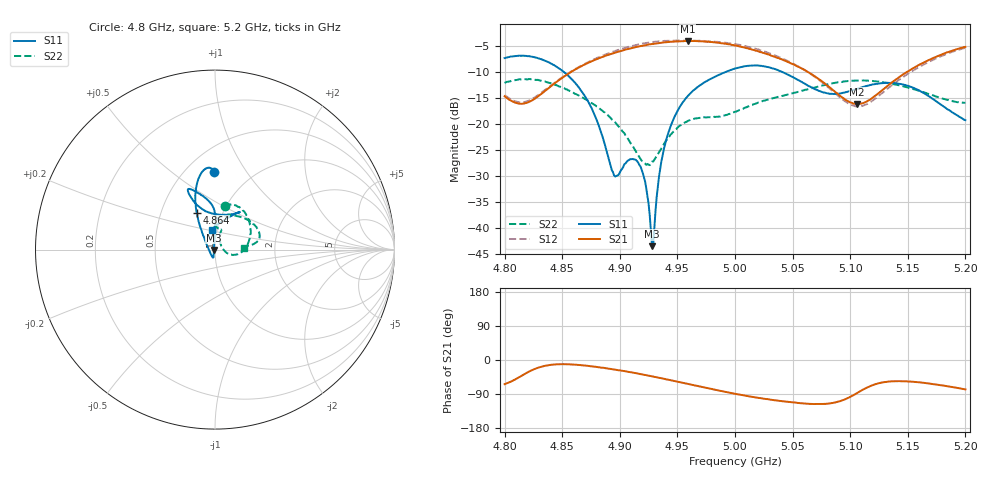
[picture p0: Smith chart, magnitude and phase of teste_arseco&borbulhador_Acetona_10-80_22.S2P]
! Network Analyzer HP8722D
! Hewlett-Packard
! Data name: Linha & Wilkinson
! Saver's name: Rodrigo Anjos
! Comments: Teste da utilização de aquisição
! continua pelo VNA HP8722D
! Time and date: 25/4/2025 15:27
!  Frequency  S11  S21  S12  S22
# HZ  S  MA R 50
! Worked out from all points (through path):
!   401 points, 4.8 GHz to 5.2 GHz, reference 50 ohm
!   highest |S21| = -3.95 dB at 4.959 GHz (marker M1); lowest = -16.1 dB at 5.106 GHz (marker M2)
!   lowest |S11| = -43.5 dB at 4.928 GHz (marker M3), VSWR 1.01, Z = 49.4 - j0.244 ohm
!   |S11| at or under -10 dB: 4.852 GHz to 4.991 GHz (139.1 MHz wide, 2.83 % of centre); 5.042 GHz to end of sweep
!   |S22| runs from -27.9 to -11.3 dB; largest |S21 - S12| = 1.2
!   S11 on the Smith chart (normalised r, x): 4.8 GHz: 0.68, +0.73; 4.864 GHz: 0.75, +0.33; 5.2 GHz: 0.94, +0.21
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4.8e9  0.4339 90.4  0.186 -63.8  0.1913 69.6  0.2503 77.4
4.82e9  0.4527 96.7  0.1621 -32.5  0.1675 98.4  0.2702 62.0
4.843e9  0.371 106.0  0.2461 -12.0  0.2496 118.8  0.2425 36.6
4.864e9  0.2298 116.4  0.3507 -13.0  0.3536 121.0  0.1902 11.9
4.867e9  0.2067 118.1  0.3633 -14.0  0.3681 120.6  0.1827 8.6
4.88e9  0.1095 128.5  0.4241 -18.4  0.4341 118.3  0.1479 -5.4
4.895e9  0.03213 -171.5  0.4864 -24.9  0.5022 113.9  0.1066 -16.1
4.909e9  0.0461 -105.9  0.5369 -32.0  0.5632 107.5  0.06696 -15.2
4.917e9  0.04049 -101.6  0.5637 -36.5  0.5903 103.4  0.04826 -1.8
4.923e9  0.02409 -106.0  0.5793 -40.0  0.6063 99.9  0.0406 19.8
4.928e9  0.006702 -158.4  0.5927 -43.1  0.6188 97.0  0.04378 41.2
4.93e9  0.01016 126.6  0.5979 -44.5  0.6219 95.7  0.04566 48.1
4.934e9  0.03109 98.6  0.6045 -47.0  0.6307 93.2  0.05406 58.4
4.943e9  0.08826 90.3  0.6209 -52.6  0.6369 87.5  0.07616 69.3
4.959e9  0.187 89.2  0.6343 -63.0  0.64 77.2  0.1077 71.8
5e9  0.3445 108.9  0.5739 -89.2  0.5937 50.6  0.1321 88.6
5.03e9  0.3526 114.9  0.4665 -104.2  0.4827 33.7  0.1739 85.5
5.067e9  0.2259 104.9  0.3014 -116.0  0.2985 23.6  0.2226 57.0
5.106e9  0.2192 64.1  0.1567 -87.2  0.1486 55.9  0.2633 24.8
5.134e9  0.25 56.6  0.242 -56.7  0.2273 88.6  0.248 12.3
5.17e9  0.1809 70.0  0.4237 -62.5  0.4077 84.3  0.1933 6.7
5.2e9  0.1095 100.1  0.5564 -77.6  0.5453 70.1  0.1608 3.9
